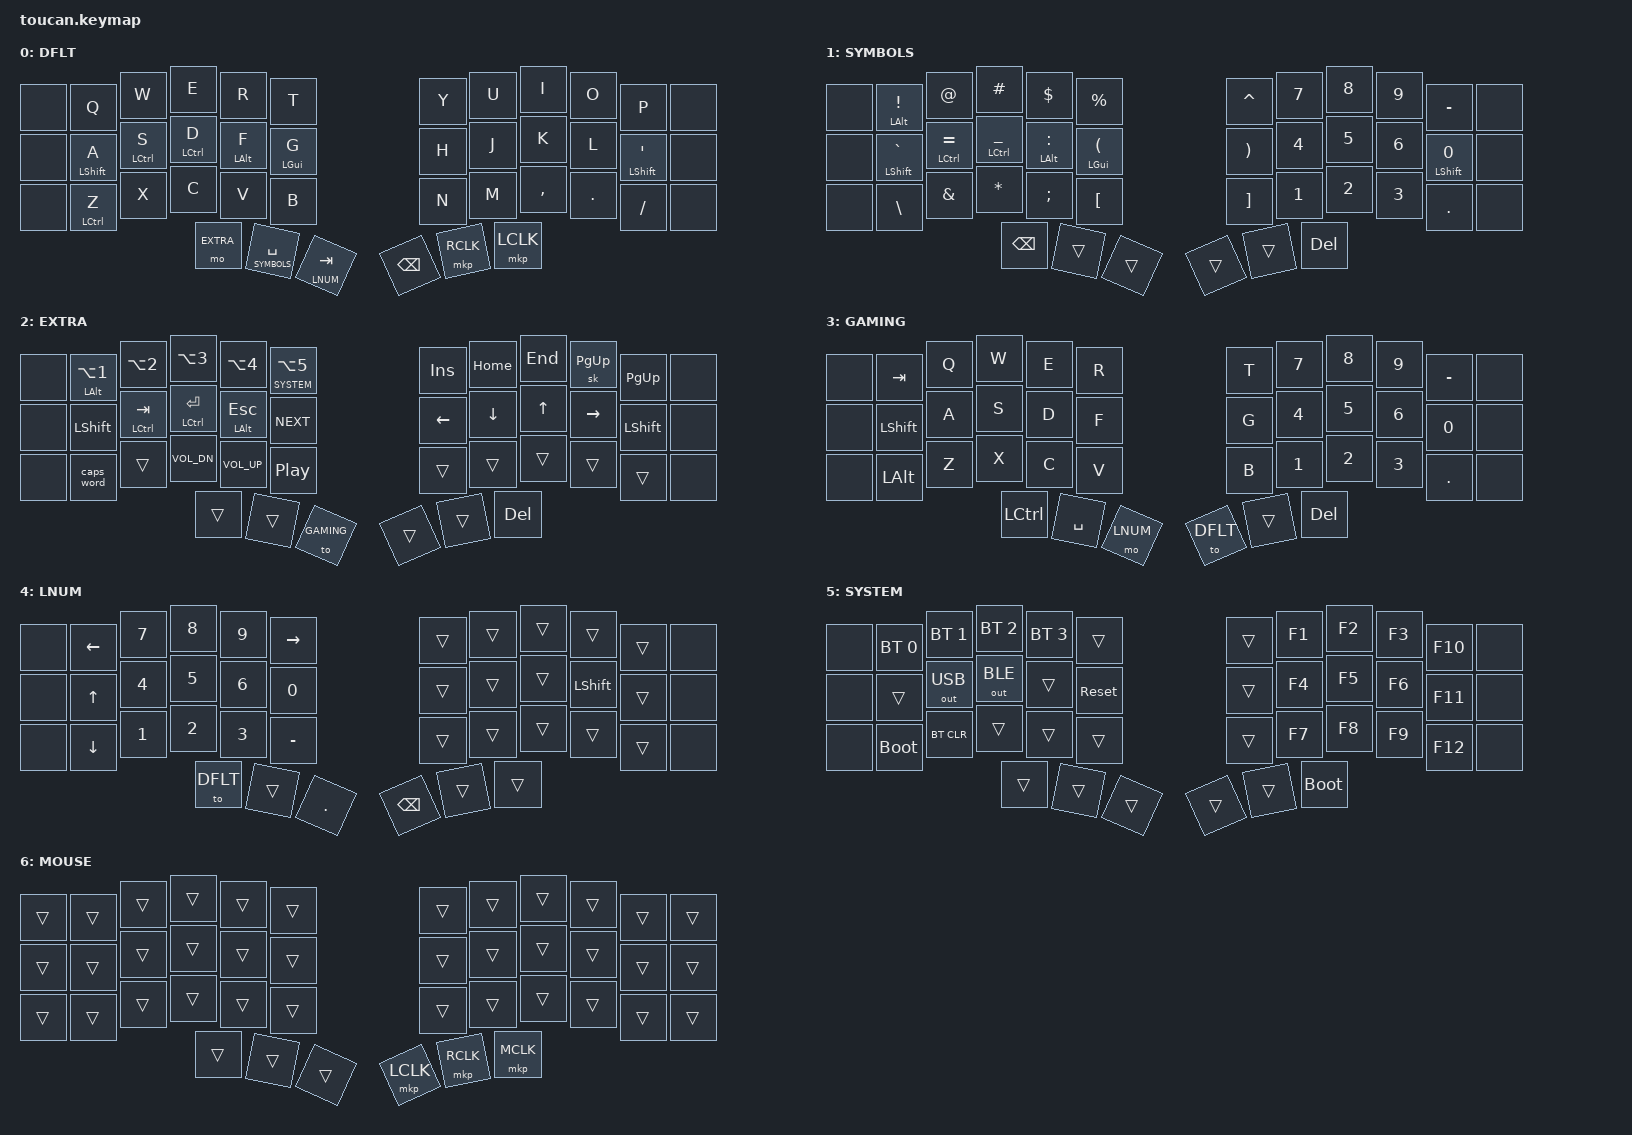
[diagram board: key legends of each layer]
/*
 * Copyright (c) 2020 The ZMK Contributors
 *
 * SPDX-License-Identifier: MIT
 *
 * Port of config/boards/shields/seven/seven.keymap onto the beekeeb Toucan2's
 * 42-key layout (6 cols x 3 rows + 3 thumb keys per hand, vs. seven's 5x3+3),
 * plus a new MOUSE layer restoring Toucan2's stock touch-to-click behavior.
 * See config/boards/shields/toucan/README-keymap-port.md for the position
 * mapping and what's new.
 */

#include <behaviors.dtsi>
#include <dt-bindings/zmk/bt.h>
#include <dt-bindings/zmk/keys.h>
#include <dt-bindings/zmk/outputs.h>
#include <dt-bindings/zmk/pointing.h>


#define DFLT      0
#define SYMBOLS   1
#define EXTRA     2
#define GAMING    3
#define LNUM      4
#define SYSTEM    5
#define MOUSE     6


/ {
    behaviors {
        hpl: hold_preferred_layer {
            compatible = "zmk,behavior-hold-tap";
            label = "HOLD_PREFERRED_LAYER";
            #binding-cells = <2>;
            tapping-term-ms = <160>;
            flavor = "hold-preferred";
            bindings = <&mo>, <&kp>;
        };
        bpl: balanced_layer {
            compatible = "zmk,behavior-hold-tap";
            label = "BALANCED_LAYER";
            #binding-cells = <2>;
            tapping-term-ms = <130>;
            flavor = "balanced";
            bindings = <&mo>, <&kp>;
        };
        tpl: tap_preferred_layer {
            compatible = "zmk,behavior-hold-tap";
            label = "TAP_REFERRED_LAYER";
            #binding-cells = <2>;
            tapping-term-ms = <125>;
            flavor = "tap-preferred";
            bindings = <&mo>, <&kp>;
        };
        hpm: hold_preferred_modifier {
            compatible = "zmk,behavior-hold-tap";
            label = "HOLD_PREFERRED_MODIFIER";
            #binding-cells = <2>;
            tapping-term-ms = <160>;
            flavor = "hold-preferred";
            bindings = <&kp>, <&kp>;
        };
        bpm: balanced_modifier {
            compatible = "zmk,behavior-hold-tap";
            label = "BALANCED_MODIFIER";
            #binding-cells = <2>;
            tapping-term-ms = <125>;
            flavor = "balanced";
            bindings = <&kp>, <&kp>;
        };
        tpm: tap_preferred_modifier {
            compatible = "zmk,behavior-hold-tap";
            label = "TAP_REFERRED_MODIFIER";
            #binding-cells = <2>;
            tapping-term-ms = <125>;
            flavor = "tap-preferred";
            bindings = <&kp>, <&kp>;
        };
    };

    combos {
        compatible = "zmk,combos";
        combo_print_screen_r_t {
            timeout-ms = <50>;
            // Positions 4,5 are R and T on row 0. Toucan2's one new column
            // per hand sits at the *outer* edge (col 0 / col 11, &none on
            // every layer), so seven's columns 0-4 land one position inward,
            // at toucan cols 1-5 — see README-keymap-port.md.
            key-positions = <4 5>;
            bindings = <&kp LC(LS(S))>;
            layers = <EXTRA>;
        };
    };

    keymap {
        compatible = "zmk,keymap";

        default_layer {
            display-name = "DFLT";
            bindings = <
                &none  &kp Q             &kp W           &kp E            &kp R           &kp T          &kp Y         &kp U        &kp I            &kp O         &kp P          &none
                &none  &bpm LSHIFT A     &tpm LCTRL S    &tpm LCTRL D     &tpm LALT F     &tpm LGUI G    &kp H         &kp J        &kp K            &kp L         &bpm LSHIFT SQT &none
                &none  &tpm LCTRL Z      &kp X           &kp C            &kp V           &kp B          &kp N         &kp M        &kp COMMA        &kp DOT       &kp SLASH      &none
                                                          &mo EXTRA        &bpl SYMBOLS SPACE &tpl LNUM TAB    &kp BACKSPACE &mkp RCLK    &mkp LCLK
            >;
        };

        symbols_layer {
            display-name = "SYMBOLS";
            bindings = <
                &none  &tpm LALT EXCL    &kp AT          &kp HASH         &kp DOLLAR       &kp PERCENT    &kp CARET     &kp N7       &kp N8           &kp N9        &kp MINUS      &none
                &none  &tpm LSHIFT GRAVE &tpm LCTRL EQUAL &tpm LCTRL UNDER &tpm LALT COLON &tpm LGUI LPAR &kp RPAR      &kp N4       &kp N5           &kp N6        &tpm LSHIFT N0 &none
                &none  &kp BACKSLASH     &kp AMPS        &kp STAR         &kp SEMI         &kp LBKT       &kp RBKT      &kp N1       &kp N2           &kp N3        &kp DOT        &none
                                                          &kp BACKSPACE    &trans           &trans         &trans &trans       &kp DEL
            >;
        };

        extra_layer {
            display-name = "EXTRA";
            bindings = <
                &none  &tpm LALT LA(N1)  &kp LA(N2)      &kp LA(N3)       &kp LA(N4)       &tpl SYSTEM LA(N5) &kp INSERT    &kp HOME     &kp END          &sk PAGE_UP   &kp PAGE_UP &none
                &none  &kp LSHIFT        &tpm LCTRL TAB  &tpm LCTRL ENTER &tpm LALT ESCAPE &kp C_NEXT         &kp LEFT      &kp DOWN     &kp UP           &kp RIGHT     &kp LSHIFT  &none
                &none  &caps_word        &trans          &kp C_VOL_DN     &kp C_VOL_UP     &kp C_PP           &trans        &trans       &trans           &trans        &trans      &none
                                                          &trans           &trans           &to GAMING         &trans &trans       &kp DEL
            >;
        };

        gaming_layer {
            display-name = "GAMING";
            bindings = <
                &none  &kp TAB           &kp Q           &kp W            &kp E            &kp R              &kp T         &kp N7       &kp N8           &kp N9        &kp MINUS &none
                &none  &kp LSHIFT        &kp A           &kp S            &kp D            &kp F              &kp G         &kp N4       &kp N5           &kp N6        &kp N0    &none
                &none  &kp LALT          &kp Z           &kp X            &kp C            &kp V              &kp B         &kp N1       &kp N2           &kp N3        &kp DOT   &none
                                                          &kp LCTRL        &kp SPACE        &mo LNUM           &to DFLT &trans      &kp DEL
            >;
        };

        left_num_layer {
            display-name = "LNUM";
            bindings = <
                &none  &kp LEFT          &kp N7           &kp N8          &kp N9           &kp RIGHT         &trans        &trans       &trans          &trans         &trans     &none
                &none  &kp UP            &kp N4           &kp N5          &kp N6           &kp N0            &trans        &trans       &trans          &kp LSHIFT     &trans     &none
                &none  &kp DOWN          &kp N1           &kp N2          &kp N3           &kp MINUS         &trans        &trans       &trans          &trans         &trans     &none
                                                            &to DFLT        &trans           &kp DOT           &kp BACKSPACE &trans      &trans
            >;
        };

        system_layer {
            display-name = "SYSTEM";
            bindings = <
                &none  &bt BT_SEL 0      &bt BT_SEL 1    &bt BT_SEL 2     &bt BT_SEL 3     &trans             &trans        &kp F1       &kp F2          &kp F3         &kp F10 &none
                &none  &trans            &out OUT_USB    &out OUT_BLE     &trans           &sys_reset         &trans        &kp F4       &kp F5          &kp F6         &kp F11 &none
                &none  &bootloader       &bt BT_CLR      &trans           &trans           &trans             &trans        &kp F7       &kp F8          &kp F9         &kp F12 &none
                                                          &trans           &trans           &trans             &trans &trans       &bootloader
            >;
        };

        // New — not a seven layer. Toucan2's stock keymap activates this
        // momentarily (&mo, matched in toucan.dtsi's is_touching_processor)
        // whenever a finger touches the trackpad, so the right thumb keys
        // become mouse-click buttons while touching. Everything else stays
        // &trans to the layer already active underneath. See
        // README-keymap-port.md.
        mouse_layer {
            display-name = "MOUSE";
            bindings = <
                &trans  &trans  &trans  &trans  &trans  &trans  &trans  &trans  &trans  &trans  &trans  &trans
                &trans  &trans  &trans  &trans  &trans  &trans  &trans  &trans  &trans  &trans  &trans  &trans
                &trans  &trans  &trans  &trans  &trans  &trans  &trans  &trans  &trans  &trans  &trans  &trans
                                        &trans  &trans  &trans          &mkp LCLK  &mkp RCLK  &mkp MCLK
            >;
        };
    };
};
